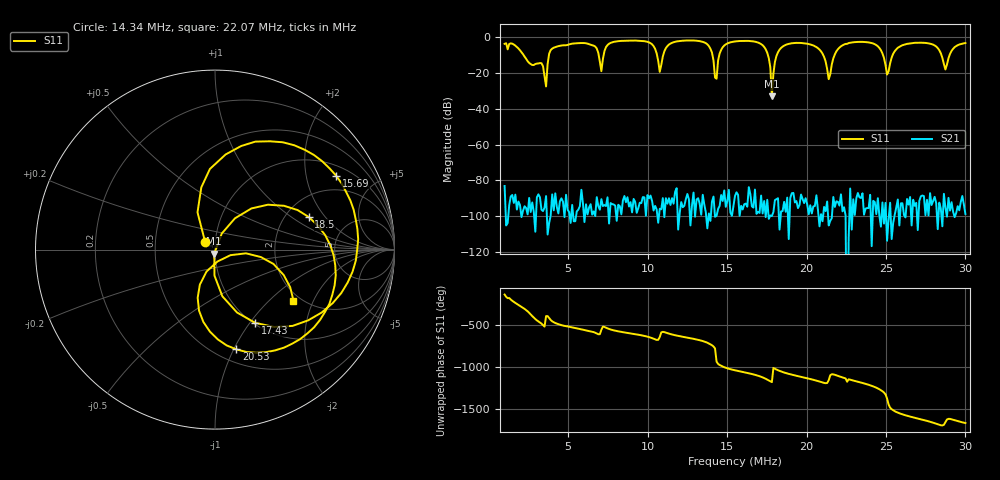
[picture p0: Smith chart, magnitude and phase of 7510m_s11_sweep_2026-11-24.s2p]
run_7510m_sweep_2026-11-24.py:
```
#!/usr/bin/env python
# coding: utf-8
"""S11 sweep of the 75-10 m end-fed half wave, 2026-11-24.

A NanoVNA-F V2 sweep taken after the antenna had been up for months with no
adjustment of any kind -- no retuning, no re-dressing of the wire, no change
to the transformer. The point of the measurement is the absence of
intervention, so nothing here corrects for it.

Run from the repository root:

    python run_7510m_sweep_2026-11-24.py

Writes two figures into `analysis_images/` beside the rest of the 75-10 m
set and prints the tables the readme quotes.
"""
import matplotlib
matplotlib.use('Agg')

import antenna_sweep

SWEEP = '7510m_s11_sweep_2026-11-24.s2p'
LABEL = '75-10 m EFHW, 2026-11-24'
PREFIX = '7510m_sweep_2026-11-24'

rows = antenna_sweep.report(SWEEP, label=LABEL, prefix=PREFIX)

# The operating consequence, stated separately from the measurement. A tuner
# at the radio matches any of these; what it cannot do is change what the
# antenna is, so the resonance series below is the thing to compare against
# the next sweep rather than the SWR figures above.
print('\nHarmonic series, as a baseline for the next sweep')
fit = [r for r in antenna_sweep.harmonic_fit(rows)
       if r['harmonic'] is not None]
base = antenna_sweep.find_fundamental(rows)
if fit and base:
    print(f'fundamental {base:.3f} MHz, {len(fit)} resonances in the series')
    errors = [r['error_pct'] for r in fit if r['harmonic'] > 1]
    if errors:
        print(f'harmonic error: {min(errors):+.1f}% to {max(errors):+.1f}%, '
              f'mean {sum(errors) / len(errors):+.1f}%')
    worst = max(fit, key=lambda r: abs(r['error_pct']))
    print(f'largest: n={worst["harmonic"]} at {worst["mhz"]:.3f} MHz, '
          f'{worst["error_pct"]:+.1f}% ({worst["error_khz"]:+.0f} kHz)')
```
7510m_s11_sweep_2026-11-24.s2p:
!File created by NanoVNA-F V2
# Hz S RI R 50
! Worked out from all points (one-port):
!   301 points, 1 MHz to 30 MHz, reference 50 ohm
!   lowest |S11| = -33.0 dB at 17.82 MHz (marker M1), VSWR 1.05, Z = 49.6 - j2.17 ohm
!   |S11| at or under -10 dB: 2.204 MHz to 3.788 MHz (1.584 MHz wide, 52.9 % of centre); 17.58 MHz to 18.12 MHz (547.9 kHz wide, 3.07 % of centre); 21.06 MHz to 21.76 MHz (702.4 kHz wide, 3.28 % of centre)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
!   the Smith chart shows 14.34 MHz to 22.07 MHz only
!   S11 on the Smith chart (normalised r, x): 14.34 MHz: 0.89, +0.08; 15.69 MHz: 1.36, +2.99; 17.43 MHz: 1.02, -1.06; 18.5 MHz: 2.66, +1.39; 20.53 MHz: 0.62, -1.02; 22.07 MHz: 1.83, -1.43
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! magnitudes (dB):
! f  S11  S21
! 1 MHz  -3.5  -83.3
! 3.61 MHz  -27.4  -88.9
! 14.34 MHz  -23.1  -100.0
! 15.5 MHz  -2.2  -88.8
! 15.69 MHz  -2.0  -88.3
! 17.43 MHz  -6.6  -100.7
! 17.82 MHz  -33.0  -100.1
! 18.5 MHz  -5.1  -97.3
! 20.53 MHz  -4.9  -94.5
! 22.07 MHz  -5.7  -94.2
! 30 MHz  -3.1  -98.9
